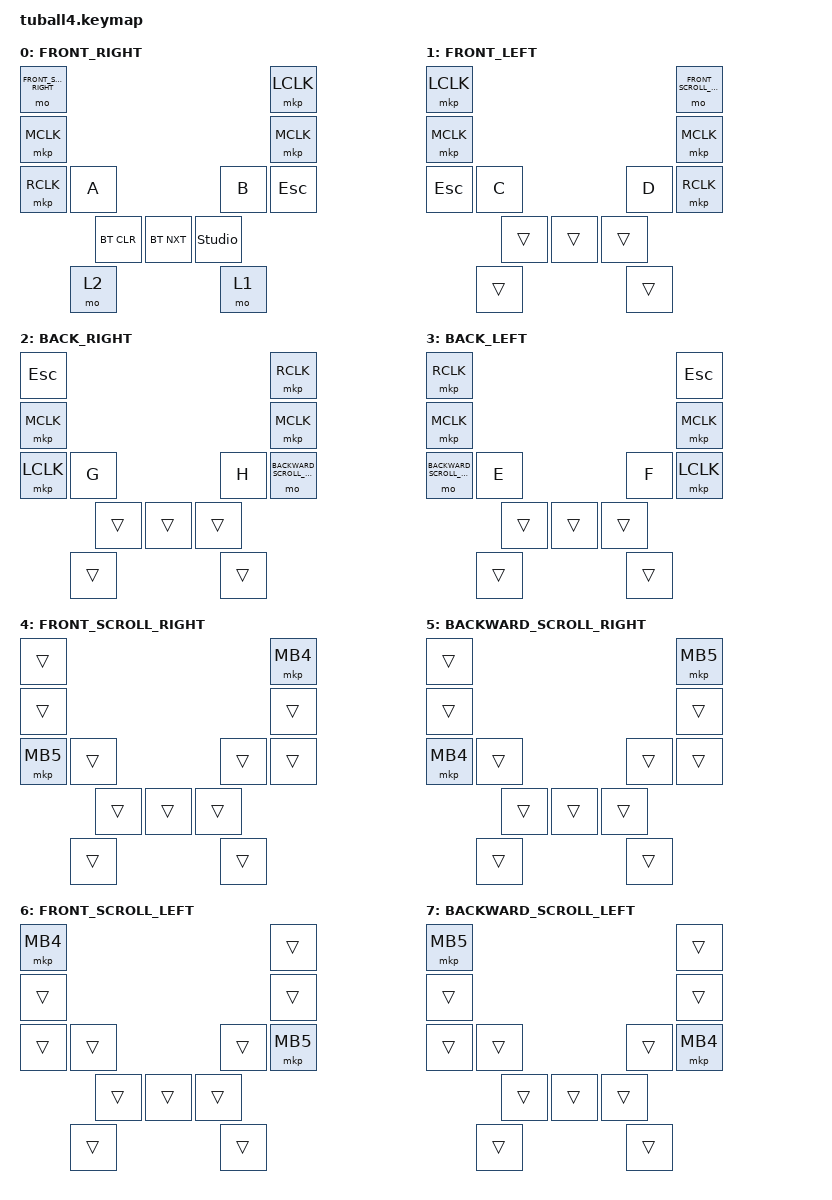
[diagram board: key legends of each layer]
/*
    No chosen zmk,matrix-transform here if using ZMK stuidio.
    https://zmk.dev/docs/features/studio#adding-zmk-studio-support-to-a-keyboard

    Put trackball listener here and place input-processors inside!
*/

#include <input/processors.dtsi>
#include <dt-bindings/zmk/mouse.h>
#include <dt-bindings/zmk/input_transform.h>
#include <zephyr/dt-bindings/input/input-event-codes.h>
#include <behaviors.dtsi>
#include <dt-bindings/zmk/bt.h>
#include <dt-bindings/zmk/keys.h>
#include <dt-bindings/zmk/pointing.h>

// keep all behavior settings for zmk studio
#define ZMK_BEHAVIORS_OMIT_KT


// Label re-defined: Fingers - Front, Thumb - Backwards

#define FRONT_RIGHT 0
#define FRONT_LEFT 1
#define BACK_RIGHT 2
#define BACK_LEFT 3
#define FRONT_SCROLL_RIGHT 4
#define BACKWARD_SCROLL_RIGHT 5
#define FRONT_SCROLL_LEFT 6
#define BACKWARD_SCROLL_LEFT 7

// Mouse speed increased
#define ZMK_POINTING_DEFAULT_MOVE_VAL 1000  // default: 600
#define ZMK_POINTING_DEFAULT_SCRL_VAL 15    // default: 10
//#include <dt-bindings/zmk/pointing.h>

/ {
    keymap {
        compatible = "zmk,keymap";

//        map = <
//   		 RC(0,2)    			     	RC(0,5)
//		 RC(0,1)	/* Ball */	        RC(0,4)
//	         RC(0,0)    RC(0,12)	RC(0,11)        RC(0,3)
//                   /* Buttons on top of the middle deck */
//  		       /*  BTReset BTSelect Unlock  */ 
//                          RC(0,8) RC(0,7)  RC(0,6)        
//               /* Slider switches on the bottom of the middle deck */
//		/* Orientation (Front/Backwards)   Handiness L/R     */
//                       RC(0,10)        	     RC(0,9)              
//        >;

// &mkp LCLK &mkp MCLK &mkp RCLK  &none

	// Layer 0
        FRONT_RIGHT {
            bindings = <
		&mo FRONT_SCROLL_RIGHT				&mkp LCLK
		&mkp MCLK					&mkp MCLK 				
		&mkp RCLK	      &kp A    &kp B		&kp ESC
               /* Orientation (Front/Backward)   Handiness L/R     */
   		  &bt BT_CLR  &bt BT_NXT   &studio_unlock	
			/*&kp N1  &kp N2  &kp N3*/
               /* Orientation (Front/Backward)   Handiness L/R     */
			&mo 2                   &mo 1
            >;
        };


	// Layer 1
        FRONT_LEFT {
            bindings = <
		&mkp LCLK 				&mo FRONT_SCROLL_LEFT
		&mkp MCLK				&mkp MCLK 				
		&kp ESC      &kp C    &kp D		&mkp RCLK
 	                   /* Inner Buttons  */
		            &trans &trans &trans
               /* Orientation (Front/Backward)   Handiness L/R     */
			&trans                  &trans
            >;
        };


	// Layer 2
        BACK_RIGHT {
            bindings = <
		&kp ESC         			&mkp RCLK		
		&mkp MCLK  				&mkp MCLK	
		&mkp LCLK 	&kp G    &kp H		&mo BACKWARD_SCROLL_RIGHT
	                   /* Inner Buttons  */
		            &trans &trans &trans
               /* Orientation (Front/Backward)   Handiness L/R     */
			&trans                 &trans
            >;
        };
 
	// Layer 3
        BACK_LEFT {
            bindings = <
		&mkp RCLK					&kp ESC
		&mkp MCLK					&mkp MCLK 				
		&mo BACKWARD_SCROLL_LEFT      &kp E    &kp F	&mkp LCLK
	                   /* Inner Buttons  */
		            &trans &trans &trans
               /* Orientation (Front/Backward)   Handiness L/R     */
			&trans                 &trans
            >;
         };
 
//   		 RC(0,5)    			    RC(0,2) 
//		 RC(0,4)	/* Ball */	    RC(0,1)
//	         RC(0,3)    RC(0,12)	RC(0,11)    RC(0,0) 
//                   /* Buttons on top of the middle deck */
//  		       /*  BTReset BTSelect Unlock  */ 
//                          RC(0,8) RC(0,7)  RC(0,6)        
//               /* Slider switches on the bottom of the middle deck */                                                         /
//		/* Orientation (Front/Backward)   Handiness L/R     */
//                       RC(0,10)        	     RC(0,9)              

	// Scroll layers have the front/back navigation gestures assgigned.
	// For the  scrolling action - those layers are detected in trackball_listener telling to switch from the pointing movement to scrolling.
 	// Need separate layers for orientation to implement, accidentally added the back/forward gestures to  them, similarly to v3/v5 trackballs.
 	// Layers 4, 5, 6, 7

	// Thumb - Back, Ring F./Pinkie - Forward 
/* 4 */ FRONT_SCROLL_RIGHT {bindings = <
				/* Trackball */ 
		&trans					&mkp MB4 /*back*/ 
		&trans					&trans
		&mkp MB5 /*forward*/ &trans &trans	&trans
	                   /* Inner Buttons  */
			&trans &trans &trans
                     /* Handiness         Orientation */
			&trans 			&trans 
	      >;
	};
/* 5 */ BACKWARD_SCROLL_RIGHT     {bindings = <
						/* Trackball */ 
		&trans					&mkp MB5 /*forward*/
		&trans					&trans
		&mkp MB4 /*back*/  &trans   &trans 	&trans	
	                   /* Inner Buttons  */
			&trans &trans &trans
                     /* Handiness         Orientation */
			&trans 			&trans
	      >;
	};

/* 6 */ FRONT_SCROLL_LEFT {bindings = <
				/* Trackball */ 
		&mkp MB4 /*back*/			&trans			
		&trans					&trans
		&trans   &trans &trans			&mkp MB5 /*forward*/
  	                   /* Inner Buttons  */
			&trans &trans &trans
                     /* Handiness         Orientation */
			&trans 			&trans 
	      >;
	};
/* 7 */ BACKWARD_SCROLL_LEFT {bindings = <
						/* Trackball */ 
		&mkp MB5 /*forward*/			&trans
		&trans					&trans
		&trans 		&trans	 &trans		&mkp MB4 /*back*/ 
  	                   /* Inner Buttons  */
			&trans &trans &trans
                     /* Handiness         Orientation */
			&trans 			&trans
	      >;
	};

        extra1 {status = "reserved";};
        extra2 {status = "reserved";};
        extra3 {status = "reserved";};
        extra4 {status = "reserved";};
        extra5 {status = "reserved";};
        extra6 {status = "reserved";};

     };

    conditional_layers {
        compatible = "zmk,conditional-layers";
        tri_layer {
            if-layers = <FRONT_LEFT BACK_RIGHT>;
            then-layer = <BACK_LEFT>;
        };
    };

};
